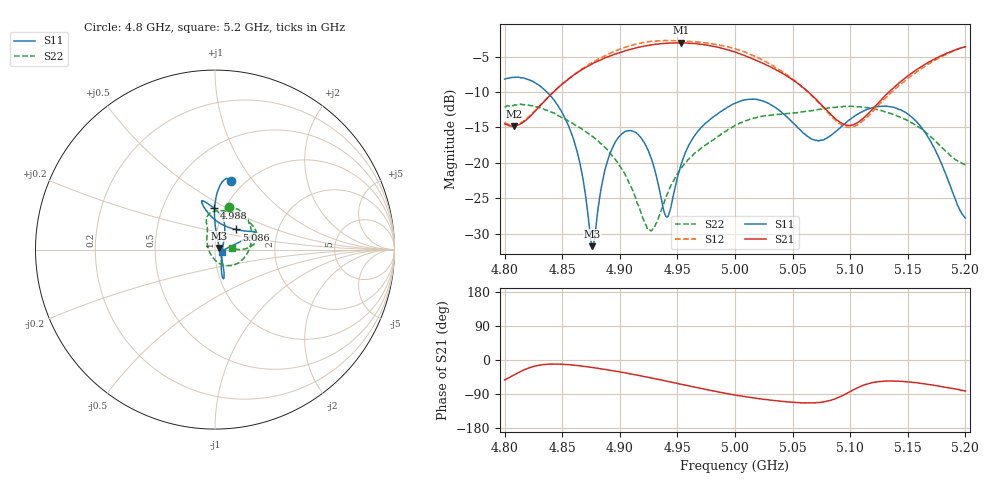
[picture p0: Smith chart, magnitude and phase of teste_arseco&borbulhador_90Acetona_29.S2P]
! Network Analyzer HP8722D
! Hewlett-Packard
! Data name: Linha & Wilkinson
! Saver's name: Rodrigo Anjos
! Comments: Teste da utilização de aquisição
! continua pelo VNA HP8722D
! Time and date: 17/4/2025 11:17
!  Frequency  S11  S21  S12  S22
# HZ  S  MA R 50
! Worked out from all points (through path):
!   401 points, 4.8 GHz to 5.2 GHz, reference 50 ohm
!   highest |S21| = -3.06 dB at 4.953 GHz (marker M1); lowest = -14.8 dB at 4.808 GHz (marker M2)
!   lowest |S11| = -31.7 dB at 4.876 GHz (marker M3), VSWR 1.05, Z = 52.5 + j0.904 ohm
!   |S11| at or under -10 dB: 4.837 GHz to end of sweep
!   |S22| runs from -29.6 to -11.7 dB; largest |S21 - S12| = 1.4
!   S11 on the Smith chart (normalised r, x): 4.8 GHz: 0.87, +0.78; 4.988 GHz: 0.89, +0.43; 5.086 GHz: 1.23, +0.28; 5.2 GHz: 1.08, -0.03
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4.8e9  0.3897 76.8  0.1888 -52.7  0.193 82.3  0.2481 71.8
4.808e9  0.4006 79.2  0.1815 -39.6  0.1846 94.2  0.2539 64.6
4.845e9  0.2622 89.7  0.3307 -10.6  0.3314 122.6  0.2195 21.2
4.858e9  0.1618 90.3  0.4052 -13.0  0.4062 122.4  0.192 1.6
4.867e9  0.0856 83.9  0.4538 -16.1  0.4584 120.9  0.1737 -12.4
4.876e9  0.02587 19.4  0.4986 -19.7  0.5104 118.8  0.1542 -26.7
4.889e9  0.1009 -63.6  0.5571 -25.8  0.5807 114.6  0.1245 -46.3
4.902e9  0.1609 -71.7  0.6068 -32.5  0.6415 108.8  0.08954 -66.5
4.925e9  0.1204 -72.9  0.6746 -46.0  0.7151 96.0  0.03386 -143.2
4.934e9  0.06696 -57.9  0.6892 -51.8  0.727 90.2  0.04194 160.4
4.942e9  0.04203 4.2  0.6981 -56.7  0.7283 85.2  0.06193 135.0
4.953e9  0.09627 56.8  0.7029 -63.8  0.724 78.3  0.09118 119.3
4.966e9  0.16 71.4  0.6919 -72.1  0.7144 69.9  0.1187 111.0
4.988e9  0.2311 91.4  0.6431 -85.7  0.6734 55.8  0.1598 107.8
5e9  0.2637 99.9  0.604 -92.6  0.6379 48.2  0.1837 104.8
5.028e9  0.2655 105.4  0.4867 -104.6  0.5099 33.8  0.2159 88.7
5.067e9  0.1466 76.3  0.2988 -113.2  0.2965 27.6  0.2334 54.3
5.086e9  0.1627 43.6  0.2093 -103.4  0.2042 39.4  0.2459 36.4
5.105e9  0.2168 27.9  0.1896 -75.3  0.1829 69.4  0.2493 22.0
5.134e9  0.2495 23.1  0.3171 -55.3  0.3037 90.9  0.2245 8.8
5.164e9  0.1682 18.9  0.4902 -62.9  0.4742 85.2  0.1683 1.4
5.2e9  0.04085 -17.3  0.6588 -81.7  0.6611 67.4  0.09718 5.5
